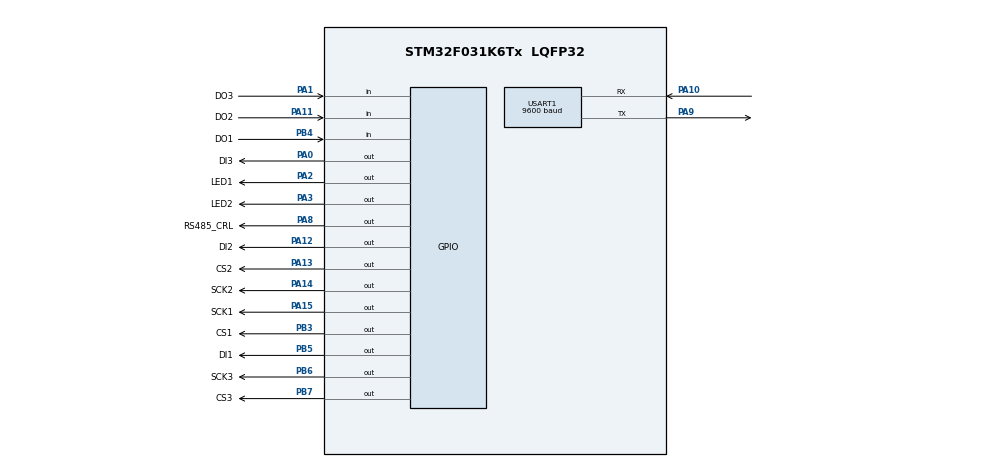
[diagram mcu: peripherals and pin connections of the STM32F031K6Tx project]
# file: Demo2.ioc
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Mcu.Family=STM32F0
Mcu.Name=STM32F031K6Tx
Mcu.Package=LQFP32
PA0.GPIO_Label=DI3
PA0.Signal=GPIO_Output
PA1.GPIO_Label=DO3
PA1.Signal=GPIO_Input
PA10.Mode=Asynchronous
PA10.Signal=USART1_RX
PA11.GPIO_Label=DO2
PA11.Signal=GPIO_Input
PA12.GPIO_Label=DI2
PA12.Signal=GPIO_Output
PA13.GPIO_Label=CS2
PA13.Signal=GPIO_Output
PA14.GPIO_Label=SCK2
PA14.Signal=GPIO_Output
PA15.GPIO_Label=SCK1
PA15.GPIO_Speed=GPIO_SPEED_FREQ_HIGH
PA15.Signal=GPIO_Output
PA2.GPIO_Label=LED1
PA2.Signal=GPIO_Output
PA3.GPIO_Label=LED2
PA3.Signal=GPIO_Output
PA8.GPIO_Label=RS485_CRL
PA8.Signal=GPIO_Output
PA9.Mode=Asynchronous
PA9.Signal=USART1_TX
PB3.GPIO_Label=CS1
PB3.GPIO_Speed=GPIO_SPEED_FREQ_MEDIUM
PB3.PinState=GPIO_PIN_RESET
PB3.Signal=GPIO_Output
PB4.GPIO_Label=DO1
PB4.Signal=GPIO_Input
PB5.GPIO_Label=DI1
PB5.GPIO_Speed=GPIO_SPEED_FREQ_HIGH
PB5.PinState=GPIO_PIN_RESET
PB5.Signal=GPIO_Output
PB6.GPIO_Label=SCK3
PB6.Signal=GPIO_Output
PB7.GPIO_Label=CS3
PB7.Signal=GPIO_Output
ProjectManager.HeapSize=0x200
ProjectManager.StackSize=0x400
ProjectManager.TargetToolchain=MDK-ARM V5.27
TIM3.Prescaler=9
USART1.BaudRate=9600
USART1.VirtualMode-Asynchronous=VM_ASYNC
VP_TIM3_VS_ClockSourceINT.Mode=Internal
board=custom

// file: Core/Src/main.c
/* USER CODE BEGIN Header */
/**
  ******************************************************************************
  * @file           : main.c
  * @brief          : Main program body
  ******************************************************************************
  * @attention
  *
  * <h2><center>&copy; Copyright (c) 2021 STMicroelectronics.
  * All rights reserved.</center></h2>
  *
  * This software component is licensed by ST under BSD 3-Clause license,
  * the "License"; You may not use this file except in compliance with the
  * License. You may obtain a copy of the License at:
  *                        opensource.org/licenses/BSD-3-Clause
  *
  ******************************************************************************
  */
/* USER CODE END Header */
#include "main.h"
#include "AD7799.h"
#define IS_128
unsigned	char	buf[4] = {0,0,0,0};
AD7799    ad7799[3];
#define   AD7799_GAIN  128					//如果增益为64倍,则这里改为64
// #define   AD7799_CHIP_GAIN  AD7799_GAIN_128 	//如果增益为64倍,则这里改为AD7799_GAIN_64

#define   AD7799_RefmV    3300				//基准电压 3300mV

TIM_HandleTypeDef htim3;

UART_HandleTypeDef huart1;

void SystemClock_Config(void);
static void MX_GPIO_Init(void);
static void MX_USART1_UART_Init(void);
static void MX_TIM3_Init(void);
/* USER CODE BEGIN PFP */
void tx_delay_100us(uint16_t nus)	//??0-8191us
{
        __HAL_TIM_SetCounter(&htim3, 0);//htim8

        __HAL_TIM_ENABLE(&htim3);

        while(__HAL_TIM_GetCounter(&htim3) < (8 * nus));//????8MHz,8???1us
        /* Disable the Peripheral */
        __HAL_TIM_DISABLE(&htim3);
}
double analyzeAD7799_Data(u32 data)
{
	long value = (data - 0X800000);
	return (float)((float)value*(float)AD7799_RefmV)/(0X800000*AD7799_GAIN);	//0X800000:2.048V    0X000000:0V

}
//返回实际的称重值
//adjustValue 是1000g的AD采样值
// zeroValue 是0g的AD采样值
double analyzeAD7799_g(u32 data)
{
  #ifdef IS_128
    long zeroValue=0x2e7d;
    long adjustValue=0X064f02;
  #else
     long zeroValue=0xbf;
    long adjustValue=0X00192e;
  #endif
	long value = (data - 0X800000)-zeroValue;
	return (float)((float)value*(float)1000)/(adjustValue-zeroValue);//0X00192e:1000g的AD值    0xbf:0g的AD值 AD7799_GAIN_2
	// return (float)((float)value*(float)1000)/(0X064f02-0x2e7d);	//0X064f02:1000g的AD值    0xbf:0g的AD值 AD7799_GAIN_128

}
/* USER CODE END PFP */

/* USER CODE BEGIN 0 */
// void AD7799_test()
// {

// 	u8 CurrentChannelValue=1;		//当前选择的是哪个通道,处于1~2
// 	u8 i;
// 	long lADValue[2];
// 	u8 ChannelBuf[2]={AD7799_CH_AIN1P_AIN1M,AD7799_CH_AIN2P_AIN2M};		//通道1  通道2
// 	double ADValues[2];
// 	char buff[256];
// 	/*ad7799初始化*/
// 	AD7799_gpio_init();
// 	while(!AD7799_Init())
// 	{
// 			//LED0 = 0;
// 			HAL_Delay(50);
// 	}
//   AD7799_Reset();
// 	//LED0 = 1;
// 	// AD7799_Calibrate();

// 	AD7799_SetGain(AD7799_CHIP_GAIN);
// 	// AD7799_SetBurnoutCurren(0);				//关闭BO
// 	// AD7799_SetBufMode(0);					//由于我们要测的电压低于100mV,所以设置为Unbuffered Mode
// 	// AD7799_SetPolar(1);
// 	//AD7799_SetChannel(ChannelBuf[0]);		//通道设置.
// 	AD7799_SetMode(AD7799_MODE_CONT,5);		//默认双极性   频率为5
// 	AD7799_SetReference(1);					//关闭参考检测,因为我们的 AD7799_RefmV 参考电压低于0.5V

// 	while(1)
// 	{

// 			for(i=0;i<2;i++)
// 			{
// 		    AD7799_SetChannel(ChannelBuf[i]);//通道设置.		0~1

// 				HAL_Delay(10);
// 				AD7799_GetRegisterValue(AD7799_REG_DATA,3);//清空之前的AD

// 				while( !AD7799_Ready())		//1~2
// 				{
// 					HAL_Delay(5);
// 				}
// 			  lADValue[i]=AD7799_GetRegisterValue(AD7799_REG_DATA,3);//0:通道1 1:通道2
// 				ADValues[i]=  analyzeAD7799_Data(lADValue[i]);
// 			}
// 		    HAL_GPIO_WritePin(GPIOA, GPIO_PIN_8,GPIO_PIN_SET);
// 		   // HAL_UART_Transmit(&huart1,(uint8_t *)&lADValue[0],4,1000);
//         sprintf(buff, "AD1 = %x ,%.2f mv AD2= %x ,%.2f mv",lADValue[0], ADValues[0],lADValue[1],ADValues[1]);
// 			  HAL_UART_Transmit(&huart1,(uint8_t *)buff,strlen(buff),1000);
// 		    HAL_GPIO_WritePin(GPIOA, GPIO_PIN_8,GPIO_PIN_RESET);

// 		//	printf("当前通道为:%d %.3fmV %.3fmV \r\n",CurrentChannelValue,ADValues[0],ADValues[1]);

// 		   // LED0 =!LED0;
// 		   HAL_Delay(1000);
// 	}

// }
/* USER CODE END 0 */
/* USER CODE BEGIN 0 */
void AD7799_test2()
{

	u8 CurrentChannelValue=1;		//当前选择的是哪个通道,处于1~2
	u8 i;
	long lADValue[2];
	u8 ChannelBuf[2]={AD7799_CH_AIN1P_AIN1M,AD7799_CH_AIN2P_AIN2M};		//通道1  通道2
	double ADValues[2];
	double ADValues_g[2];
	char buff[256];
	/*ad7799初始化*/
  ad7799[0].channel=0;
  ad7799[0].CSPort=CS1_GPIO_Port;
  ad7799[0].CSPin=CS1_Pin;
  ad7799[0].DIPort=DI1_GPIO_Port;
  ad7799[0].DIPin=DI1_Pin;
  ad7799[0].DOPort=DO1_GPIO_Port;
  ad7799[0].DOPin=DO1_Pin;
  ad7799[0].SCKPort=SCK1_GPIO_Port;
  ad7799[0].SCKPin=SCK1_Pin;
	//AD7799_gpio_init();
  AD7799_Reset2(&ad7799[0]);
	while(AD7799_Init2(&ad7799[0]))
	{
			//LED0 = 0;
			HAL_Delay(50);
	}
  AD7799_Reset2(&ad7799[0]);
  ad7799[0].mode = AD7799_MODE_CONT;
  #ifdef IS_128
	ad7799[0].gain = AD7799_GAIN_128;
  #else
   ad7799[0].gain = AD7799_GAIN_2;
  #endif
	ad7799[0].channel = AD7799_CH_AIN1P_AIN1M;
	ad7799[0].polarity = AD7799_BIPOLAR;
	ad7799[0].rate = AD7799_RATE_4_17HZ_74DB;
	//LED0 = 1;
	//AD7799_Calibrate();
// AD7799_SetBurnoutCurren(0);				//关闭BO
	AD7799_SetGain2(&ad7799[0],ad7799[0].gain);		//
  AD7799_SetPolarity2(&ad7799[0],ad7799[0].polarity);//双极性
  AD7799_SetRate2(&ad7799[0],ad7799[0].rate);//采样率 4.17hz
	//AD7799_SetBurnoutCurren2(0);				//关闭BO
	//AD7799_SetBufMode2(0);					//由于我们要测的电压低于100mV,所以设置为Unbuffered Mode
	AD7799_SetMode2(&ad7799[0],ad7799[0].mode);		//持续模式
	AD7799_SetReference2(&ad7799[0],1);					//关闭参考检测,因为我们的 AD7799_RefmV 参考电压低于0.5V

	while(1)
	{

			for(i=0;i<2;i++)
			{
		    AD7799_SetChannel2(&ad7799[0],ChannelBuf[i]);//通道设置.		0~1

				HAL_Delay(10);
				AD7799_GetRegisterValue2(&ad7799[0],AD7799_REG_DATA,3);//清空之前的AD

				while( !AD7799_Ready2(&ad7799[0]))		//1~2
				{
					HAL_Delay(1);
				}
			  lADValue[i]=AD7799_GetRegisterValue2(&ad7799[0],AD7799_REG_DATA,3);//0:通道1 1:通道2
				ADValues[i]=  analyzeAD7799_Data(lADValue[i]);
				ADValues_g[i]=  analyzeAD7799_g(lADValue[i]);
			}
      	HAL_GPIO_TogglePin(LED1_GPIO_Port, LED2_Pin);
		    HAL_GPIO_WritePin(GPIOA, GPIO_PIN_8,GPIO_PIN_SET);
		   // HAL_UART_Transmit(&huart1,(uint8_t *)&lADValue[0],4,1000);
        sprintf(buff, "AD2= %x ,%.3f mv %.1f g gain=%d",
        lADValue[1], ADValues[1],ADValues_g[1],1<<ad7799[0].gain);
			  HAL_UART_Transmit(&huart1,(uint8_t *)buff,strlen(buff),1000);
		    HAL_GPIO_WritePin(GPIOA, GPIO_PIN_8,GPIO_PIN_RESET);
		//	printf("当前通道为:%d %.3fmV %.3fmV \r\n",CurrentChannelValue,ADValues[0],ADValues[1]);
    		//LED0 =!LED0;
		   HAL_Delay(1000);
	}

}
/* USER CODE END 0 */
int main(void)
{
  /* USER CODE BEGIN 1 */
  uint8_t data[3]={1,2,3};
	uint16_t i=0;
	unsigned long lData[2]=0;
  /* USER CODE END 1 */

  /* MCU Configuration--------------------------------------------------------*/

  /* Reset of all peripherals, Initializes the Flash interface and the Systick. */
  HAL_Init();

  /* Configure the system clock */
  SystemClock_Config();

  /* Initialize all configured peripherals */
  MX_GPIO_Init();
  MX_USART1_UART_Init();
  MX_TIM3_Init();
  /* USER CODE BEGIN 2 */
//	AD7799_gpio_init();
//	while(!AD7799_Init())
//	{
//			HAL_GPIO_TogglePin(GPIOA, GPIO_PIN_2);
//			HAL_Delay(1000);
//		  //HAL_GPIO_WritePin(GPIOA, GPIO_PIN_8,GPIO_PIN_SET);
//		 // HAL_UART_Transmit(&huart1,data,3,1000);
//		  //HAL_GPIO_WritePin(GPIOA, GPIO_PIN_8,GPIO_PIN_RESET);
//	}
  AD7799_test2();
	//HAL_GPIO_WritePin(GPIOA, GPIO_PIN_2,GPIO_PIN_SET);
  /* USER CODE END 2 */

  /* Infinite loop */
  while (1)
  {
			HAL_GPIO_TogglePin(LED1_GPIO_Port, LED2_Pin);
      		  HAL_GPIO_WritePin(GPIOA, GPIO_PIN_8,GPIO_PIN_SET);
		 HAL_UART_Transmit(&huart1,data,3,1000);
		  HAL_GPIO_WritePin(GPIOA, GPIO_PIN_8,GPIO_PIN_RESET);
			HAL_Delay(1000);
  }
}

void SystemClock_Config(void)
{
  RCC_OscInitTypeDef RCC_OscInitStruct = {0};
  RCC_ClkInitTypeDef RCC_ClkInitStruct = {0};
  RCC_PeriphCLKInitTypeDef PeriphClkInit = {0};

  /** Initializes the RCC Oscillators according to the specified parameters
  * in the RCC_OscInitTypeDef structure.
  */
  RCC_OscInitStruct.OscillatorType = RCC_OSCILLATORTYPE_HSI;
  RCC_OscInitStruct.HSIState = RCC_HSI_ON;
  RCC_OscInitStruct.HSICalibrationValue = RCC_HSICALIBRATION_DEFAULT;
  RCC_OscInitStruct.PLL.PLLState = RCC_PLL_NONE;
  if (HAL_RCC_OscConfig(&RCC_OscInitStruct) != HAL_OK)
  {
    Error_Handler();
  }
  /** Initializes the CPU, AHB and APB buses clocks
  */
  RCC_ClkInitStruct.ClockType = RCC_CLOCKTYPE_HCLK|RCC_CLOCKTYPE_SYSCLK
                              |RCC_CLOCKTYPE_PCLK1;
  RCC_ClkInitStruct.SYSCLKSource = RCC_SYSCLKSOURCE_HSI;
  RCC_ClkInitStruct.AHBCLKDivider = RCC_SYSCLK_DIV1;
  RCC_ClkInitStruct.APB1CLKDivider = RCC_HCLK_DIV1;

  if (HAL_RCC_ClockConfig(&RCC_ClkInitStruct, FLASH_LATENCY_0) != HAL_OK)
  {
    Error_Handler();
  }
  PeriphClkInit.PeriphClockSelection = RCC_PERIPHCLK_USART1;
  PeriphClkInit.Usart1ClockSelection = RCC_USART1CLKSOURCE_PCLK1;
  if (HAL_RCCEx_PeriphCLKConfig(&PeriphClkInit) != HAL_OK)
  {
    Error_Handler();
  }
}

static void MX_TIM3_Init(void)
{

  TIM_ClockConfigTypeDef sClockSourceConfig = {0};
  TIM_MasterConfigTypeDef sMasterConfig = {0};

  htim3.Instance = TIM3;
  htim3.Init.Prescaler = 9;
  htim3.Init.CounterMode = TIM_COUNTERMODE_UP;
  htim3.Init.Period = 65535;
  htim3.Init.ClockDivision = TIM_CLOCKDIVISION_DIV1;
  htim3.Init.AutoReloadPreload = TIM_AUTORELOAD_PRELOAD_DISABLE;
  if (HAL_TIM_Base_Init(&htim3) != HAL_OK)
  {
    Error_Handler();
  }
  sClockSourceConfig.ClockSource = TIM_CLOCKSOURCE_INTERNAL;
  if (HAL_TIM_ConfigClockSource(&htim3, &sClockSourceConfig) != HAL_OK)
  {
    Error_Handler();
  }
  sMasterConfig.MasterOutputTrigger = TIM_TRGO_RESET;
  sMasterConfig.MasterSlaveMode = TIM_MASTERSLAVEMODE_DISABLE;
  if (HAL_TIMEx_MasterConfigSynchronization(&htim3, &sMasterConfig) != HAL_OK)
  {
    Error_Handler();
  }

}

static void MX_USART1_UART_Init(void)
{

  huart1.Instance = USART1;
  huart1.Init.BaudRate = 9600;
  huart1.Init.WordLength = UART_WORDLENGTH_8B;
  huart1.Init.StopBits = UART_STOPBITS_1;
  huart1.Init.Parity = UART_PARITY_NONE;
  huart1.Init.Mode = UART_MODE_TX_RX;
  huart1.Init.HwFlowCtl = UART_HWCONTROL_NONE;
  huart1.Init.OverSampling = UART_OVERSAMPLING_16;
  huart1.Init.OneBitSampling = UART_ONE_BIT_SAMPLE_DISABLE;
  huart1.AdvancedInit.AdvFeatureInit = UART_ADVFEATURE_NO_INIT;
  if (HAL_UART_Init(&huart1) != HAL_OK)
  {
    Error_Handler();
  }

}

static void MX_GPIO_Init(void)
{
  GPIO_InitTypeDef GPIO_InitStruct = {0};

  /* GPIO Ports Clock Enable */
  __HAL_RCC_GPIOA_CLK_ENABLE();
  __HAL_RCC_GPIOB_CLK_ENABLE();

  /*Configure GPIO pin Output Level */
  HAL_GPIO_WritePin(GPIOA, DI3_Pin|LED1_Pin|LED2_Pin|GPIO_PIN_8
                          |DI2_Pin|CS2_Pin|SCK2_Pin|SCK1_Pin, GPIO_PIN_RESET);

  /*Configure GPIO pin Output Level */
  HAL_GPIO_WritePin(GPIOB, CS1_Pin|DI1_Pin|SCK3_Pin|CS3_Pin, GPIO_PIN_RESET);

  /*Configure GPIO pins : DI3_Pin LED1_Pin LED2_Pin PA8
                           DI2_Pin CS2_Pin SCK2_Pin */
  GPIO_InitStruct.Pin = DI3_Pin|LED1_Pin|LED2_Pin|GPIO_PIN_8     ;
  GPIO_InitStruct.Mode = GPIO_MODE_OUTPUT_PP;
  GPIO_InitStruct.Pull = GPIO_NOPULL;
  GPIO_InitStruct.Speed = GPIO_SPEED_FREQ_LOW;
  HAL_GPIO_Init(GPIOA, &GPIO_InitStruct);

  /*Configure GPIO pins : DO3_Pin DO2_Pin */
  GPIO_InitStruct.Pin = DO3_Pin;
  GPIO_InitStruct.Mode = GPIO_MODE_INPUT;
  GPIO_InitStruct.Pull = GPIO_NOPULL;
  HAL_GPIO_Init(GPIOA, &GPIO_InitStruct);

  /*Configure GPIO pin : SCK1_Pin */
  GPIO_InitStruct.Pin = SCK1_Pin;
  GPIO_InitStruct.Mode = GPIO_MODE_OUTPUT_PP;
  GPIO_InitStruct.Pull = GPIO_NOPULL;
  GPIO_InitStruct.Speed = GPIO_SPEED_FREQ_HIGH;
  HAL_GPIO_Init(SCK1_GPIO_Port, &GPIO_InitStruct);

  /*Configure GPIO pin : CS1_Pin */
  GPIO_InitStruct.Pin = CS1_Pin;
  GPIO_InitStruct.Mode = GPIO_MODE_OUTPUT_PP;
  GPIO_InitStruct.Pull = GPIO_NOPULL;
  GPIO_InitStruct.Speed = GPIO_SPEED_FREQ_MEDIUM;
  HAL_GPIO_Init(CS1_GPIO_Port, &GPIO_InitStruct);

  /*Configure GPIO pin : DO1_Pin */
  GPIO_InitStruct.Pin = DO1_Pin;
  GPIO_InitStruct.Mode = GPIO_MODE_INPUT;
  GPIO_InitStruct.Pull = GPIO_NOPULL;
  HAL_GPIO_Init(DO1_GPIO_Port, &GPIO_InitStruct);

  /*Configure GPIO pin : DI1_Pin */
  GPIO_InitStruct.Pin = DI1_Pin;
  GPIO_InitStruct.Mode = GPIO_MODE_OUTPUT_PP;
  GPIO_InitStruct.Pull = GPIO_NOPULL;
  GPIO_InitStruct.Speed = GPIO_SPEED_FREQ_HIGH;
  HAL_GPIO_Init(DI1_GPIO_Port, &GPIO_InitStruct);

  /*Configure GPIO pins : SCK3_Pin CS3_Pin */
  GPIO_InitStruct.Pin = SCK3_Pin|CS3_Pin;
  GPIO_InitStruct.Mode = GPIO_MODE_OUTPUT_PP;
  GPIO_InitStruct.Pull = GPIO_NOPULL;
  GPIO_InitStruct.Speed = GPIO_SPEED_FREQ_LOW;
  HAL_GPIO_Init(GPIOB, &GPIO_InitStruct);

}

void Error_Handler(void)
{
  __disable_irq();
  while (1)
  {
  }
}

/************************ (C) COPYRIGHT STMicroelectronics *****END OF FILE****/
